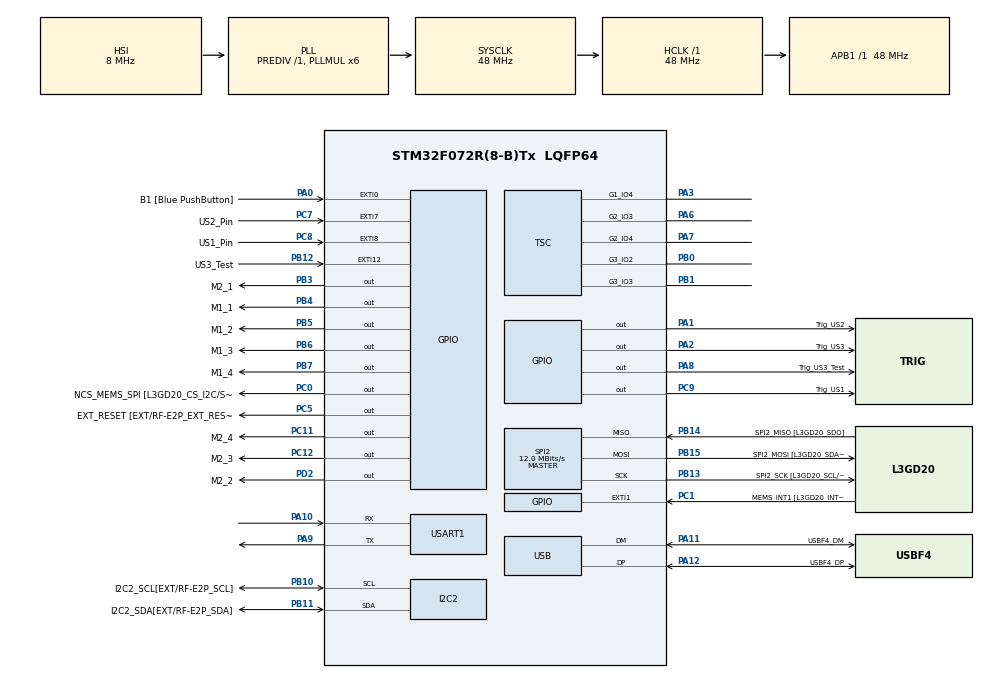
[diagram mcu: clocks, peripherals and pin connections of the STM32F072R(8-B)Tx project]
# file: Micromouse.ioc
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I2C2.Timing=0x20303E5D
Mcu.Family=STM32F0
Mcu.Name=STM32F072R(8-B)Tx
Mcu.Package=LQFP64
NVIC.EXTI4_15_IRQn=true\:0\:0\:false\:true\:true\:1\:true\:true
NVIC.TIM1_CC_IRQn=true\:0\:0\:false\:false\:true\:true\:true
NVIC.TIM3_IRQn=true\:0\:0\:false\:false\:true\:true\:true
NVIC.USART1_IRQn=true\:0\:0\:false\:true\:true\:2\:true\:true
PA0.GPIO_Label=B1 [Blue PushButton]
PA0.GPIO_ModeDefaultEXTI=GPIO_MODE_EVT_RISING
PA0.Signal=GPXTI0
PA1.GPIO_Label=Trig_US2
PA1.Signal=GPIO_Output
PA10.Mode=Asynchronous
PA10.Signal=USART1_RX
PA11.GPIO_Label=USBF4_DM
PA11.Mode=Device
PA11.Signal=USB_DM
PA12.GPIO_Label=USBF4_DP
PA12.Mode=Device
PA12.Signal=USB_DP
PA13.GPIO_Label=SWDIO
PA13.Mode=Serial_Wire
PA13.Signal=SYS_SWDIO
PA14.GPIO_Label=SWCLK
PA14.Mode=Serial_Wire
PA14.Signal=SYS_SWCLK
PA2.GPIO_Label=Trig_US3
PA2.Signal=GPIO_Output
PA3.Mode=G1_IO4-Sampling
PA3.Signal=TSC_G1_IO4
PA6.Mode=G2_IO3-Channel
PA6.Signal=TSC_G2_IO3
PA7.Mode=G2_IO4-Sampling
PA7.Signal=TSC_G2_IO4
PA8.GPIO_Label=Trig_US3_Test
PA8.Signal=GPIO_Output
PA9.Mode=Asynchronous
PA9.Signal=USART1_TX
PB0.Mode=G3_IO2-Channel
PB0.Signal=TSC_G3_IO2
PB1.Mode=G3_IO3-Sampling
PB1.Signal=TSC_G3_IO3
PB10.GPIO_Label=I2C2_SCL[EXT/RF-E2P_SCL]
PB10.Mode=I2C
PB10.Signal=I2C2_SCL
PB11.GPIO_Label=I2C2_SDA[EXT/RF-E2P_SDA]
PB11.Mode=I2C
PB11.Signal=I2C2_SDA
PB12.GPIO_Label=US3_Test
PB12.GPIO_ModeDefaultEXTI=GPIO_MODE_IT_RISING_FALLING
PB12.Signal=GPXTI12
PB13.GPIO_Label=SPI2_SCK [L3GD20_SCL/SPC]
PB13.Mode=Full_Duplex_Master
PB13.Signal=SPI2_SCK
PB14.GPIO_Label=SPI2_MISO [L3GD20_SDO]
PB14.Mode=Full_Duplex_Master
PB14.Signal=SPI2_MISO
PB15.GPIO_Label=SPI2_MOSI [L3GD20_SDA/SDI]
PB15.Mode=Full_Duplex_Master
PB15.Signal=SPI2_MOSI
PB3.GPIO_Label=M2_1
PB3.Signal=GPIO_Output
PB4.GPIO_Label=M1_1
PB4.Signal=GPIO_Output
PB5.GPIO_Label=M1_2
PB5.Signal=GPIO_Output
PB6.GPIO_Label=M1_3
PB6.Signal=GPIO_Output
PB7.GPIO_Label=M1_4
PB7.Signal=GPIO_Output
PC0.GPIO_Label=NCS_MEMS_SPI [L3GD20_CS_I2C/SPI]
PC0.Signal=GPIO_Output
PC1.GPIO_Label=MEMS_INT1 [L3GD20_INT1]
PC1.GPIO_ModeDefaultEXTI=GPIO_MODE_EVT_RISING
PC1.Signal=GPXTI1
PC11.GPIO_Label=M2_4
PC11.Signal=GPIO_Output
PC12.GPIO_Label=M2_3
PC12.Signal=GPIO_Output
PC5.GPIO_Label=EXT_RESET [EXT/RF-E2P_EXT_RESET]
PC5.Signal=GPIO_Output
PC7.GPIO_Label=US2_Pin
PC7.GPIO_ModeDefaultEXTI=GPIO_MODE_IT_RISING_FALLING
PC7.Signal=GPXTI7
PC8.GPIO_Label=US1_Pin
PC8.GPIO_ModeDefaultEXTI=GPIO_MODE_IT_RISING_FALLING
PC8.GPIO_PuPd=GPIO_NOPULL
PC8.Signal=GPXTI8
PC9.GPIO_Label=Trig_US1
PC9.Signal=GPIO_Output
PD2.GPIO_Label=M2_2
PD2.Signal=GPIO_Output
ProjectManager.HeapSize=0x200
ProjectManager.StackSize=0x400
ProjectManager.TargetToolchain=Other Toolchains (GPDSC)
RCC.AHBFreq_Value=48000000
RCC.APB1Freq_Value=48000000
RCC.APB1TimFreq_Value=48000000
RCC.HCLKFreq_Value=48000000
RCC.PLLMUL=RCC_PLL_MUL6
RCC.SYSCLKFreq_VALUE=48000000
RCC.SYSCLKSource=RCC_SYSCLKSOURCE_PLLCLK
SPI2.BaudRatePrescaler=SPI_BAUDRATEPRESCALER_4
SPI2.CalculateBaudRate=12.0 MBits/s
SPI2.Direction=SPI_DIRECTION_2LINES
SPI2.Mode=SPI_MODE_MASTER
SPI2.VirtualType=VM_MASTER
TIM3.Period=999
TIM3.Prescaler=47
USART1.Parity=PARITY_EVEN
USART1.VirtualMode-Asynchronous=VM_ASYNC
USART1.WordLength=WORDLENGTH_9B
USB.phy_itface=PCD_PHY_EMBEDDED
USB.speed=PCD_SPEED_FULL
VP_TIM1_VS_ClockSourceINT.Mode=Internal
VP_TIM3_VS_ClockSourceINT.Mode=Internal
board=STM32F072B-DISCO

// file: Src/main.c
/* USER CODE BEGIN Header */
/**
  ******************************************************************************
  * @file           : main.c
  * @brief          : Main program body
  ******************************************************************************
  * @attention
  *
  * <h2><center>&copy; Copyright (c) 2021 STMicroelectronics.
  * All rights reserved.</center></h2>
  *
  * This software component is licensed by ST under BSD 3-Clause license,
  * the "License"; You may not use this file except in compliance with the
  * License. You may obtain a copy of the License at:
  *                        opensource.org/licenses/BSD-3-Clause
  *
  ******************************************************************************
  */
/* USER CODE END Header */
#include "main.h"

/* USER CODE BEGIN Includes */
#include <stdio.h>
#include <math.h>
#include <string.h>
#include <stdlib.h>
/* USER CODE END Includes */

I2C_HandleTypeDef hi2c2;

SPI_HandleTypeDef hspi2;

TIM_HandleTypeDef htim1;
TIM_HandleTypeDef htim3;

TSC_HandleTypeDef htsc;

UART_HandleTypeDef huart1;

PCD_HandleTypeDef hpcd_USB_FS;

void SystemClock_Config(void);
static void MX_GPIO_Init(void);
static void MX_I2C2_Init(void);
static void MX_SPI2_Init(void);
static void MX_TSC_Init(void);
static void MX_USART1_UART_Init(void);
static void MX_USB_PCD_Init(void);
static void MX_TIM1_Init(void);
static void MX_TIM3_Init(void);
static void MX_NVIC_Init(void);

/* USER CODE BEGIN 0 */
//init UART module
uint8_t UART1_rxBuffer[12] = {0};
uint8_t Buffer[64] = {0};
uint8_t Text[12] = {0};
uint8_t length;

//init buffer for UART transmit of US-Sensor
uint8_t distance_str_front[200];
uint8_t len_front = 0;
uint8_t distance_str_left[200];
uint8_t len_left = 0;
uint8_t distance_str_right[200];
uint8_t len_right = 0;

//init buffer for follow wall initial distances
uint8_t wall_len_left = 35; // Set desired distance to left wall
uint8_t wall_len_right = 35; // Set desired distance to right wall

//PLEASE ADD DESCRIPTION
uint8_t distance_str_od[200];
uint8_t len_od = 0;

//save walls
uint32_t wall_array[15][15];
uint8_t wall_str[200];
uint8_t wall_array_show = 0;
uint8_t cell_value_1 = 0;
uint8_t cell_value_2 = 0;
uint8_t cell_value_3 = 0;
uint8_t cell_value_4 = 0;
uint8_t cell_value_5 = 0;
uint8_t cell_value_6 = 0;
uint8_t cell_value_7 = 0;
uint8_t cell_value_8 = 0;
uint8_t cell_value_9 = 0;

int x;
int y;

// Let's write the callback function
void delay (uint16_t time)
{
	__HAL_TIM_SET_COUNTER(&htim1,0);  // set the counter value a 0
	while (__HAL_TIM_GET_COUNTER(&htim1) < time);  // wait for the counter to reach the us input in the parameter
}

void trig_front ()
{
  __HAL_TIM_SET_COUNTER(&htim1,0);
  HAL_GPIO_WritePin(GPIOC, GPIO_PIN_9, GPIO_PIN_SET);
  delay(2);
  HAL_GPIO_WritePin(GPIOC, GPIO_PIN_9, GPIO_PIN_RESET);
}

void trig_left ()
{
  __HAL_TIM_SET_COUNTER(&htim1,0);
  HAL_GPIO_WritePin(GPIOA, GPIO_PIN_1, GPIO_PIN_SET);
  delay(2);
  HAL_GPIO_WritePin(GPIOA, GPIO_PIN_1, GPIO_PIN_RESET);
}

void trig_right ()
{
  __HAL_TIM_SET_COUNTER(&htim1,0);
  HAL_GPIO_WritePin(GPIOA, GPIO_PIN_8, GPIO_PIN_SET);
  delay(2);
  HAL_GPIO_WritePin(GPIOA, GPIO_PIN_8, GPIO_PIN_RESET);

}

uint16_t dist_calc (uint16_t echo_time)
{
  // distance in [mm]
  uint16_t distance = 0;
  distance = round((343. * echo_time/1.e3)/2.);
  return distance;
}

//start of UART Callback Checker
void HAL_UART_RxCpltCallback(UART_HandleTypeDef *huart)
{
  HAL_UART_Receive_IT(&huart1, UART1_rxBuffer, 1);
  x = strlen(Buffer);

  if (x == 0)
  {
    strcpy (Buffer, UART1_rxBuffer);
  }
  else
  {
    strcat (Buffer, UART1_rxBuffer);
  }

  //give out total driven distance
  if (strcmp (Buffer, "tm od\r\n") == 0)
  {
    tmod_trig = 1;
    return;
  }

  //give out current distance in all three directions
  else if (strcmp (Buffer, "tm ds\r\n") == 0)
  {
    tmds_trig = 1;
    return;
  }

  //command straight movement with fixed driving-distance
  else if (strncmp (Buffer, "mv ds", 5) == 0 && strncmp (&Buffer[10], "\r\n", 2) == 0)
  {
    strcpy(Text, &Buffer[6]);
    mvds_trig = 1;
    return;
  }

  //command change in motor-speed (for both motors)
  else if (strncmp (Buffer, "mv sp", 5) == 0 && strncmp (&Buffer[10], "\r\n", 2) == 0)
  {
    strcpy(Text, &Buffer[6]);
    set_sp_trig = 1;
    return;
  }

  else if (strcmp (Buffer, "tr wa\r\n") == 0)
  {
    set_wa_trig = 1;
    return;
  }

  else if (strncmp (Buffer, "mv lt", 5) == 0 && strncmp (&Buffer[10], "\r\n", 2) == 0)
  {
    strcpy(Text, &Buffer[6]);
    mvleft_trig = 1;
    return;
  }

  else if (strncmp (Buffer, "mv rt", 5) == 0 && strncmp (&Buffer[10], "\r\n", 2) == 0)
  {
    strcpy(Text, &Buffer[6]);
    mvright_trig = 1;
    return;
  }

  else if (strcmp (Buffer, "tr pk\r\n") == 0)
  {
    parking_trig = 1;
    return;
  }

  else if (strcmp (Buffer, "tr cn\r\n") == 0)
  {
    corner_trig = 1;
    return;
  }

  else if (strncmp(Buffer, "tr 4.1.1", 8) == 0 && strncmp (&Buffer[13], "\r\n", 2) == 0)  // trigger task 4.1.1 "drive straight for XXXX cells"
  {
    strcpy(Text, &Buffer[9]);
    lab_drv_trig = 1;
    return;
  }

  else if (strncmp(Buffer, "tr 4.1.2", 8) == 0 && strncmp (&Buffer[13], "\r\n", 2) == 0)  // trigger task 4.1.2 "turn 90° right and drive straight for XXXX cells"
  {
    strcpy(Text, &Buffer[9]);
    lab_turn_trig = 1;
    return;
  }

  else if (strncmp(Buffer, "tr 4.1.3", 8) == 0)  // trigger task 4.1.3 "turn around and drive back to right turn location"
  {
    lab_turnaround_trig = 1;
    return;
  }

   else if (strncmp(Buffer, "tr 4.1.4", 8) == 0)  // trigger task 4.1.4 "turn left and drive back to the start position of 4.1.1"
  {
    lab_turnleft_trig = 1;
    return;
  }

  else if (strcmp (Buffer, "mz explore\r\n") == 0) // trigger labyrinth explore to middle
  {
    maze_explore_trig = 1;
    return;
  }

  // command for solve starting from shortest path
  else if (strcmp (Buffer, "tr s1\r\n") == 0)
  {
    solve_1_trig = 1;
    return;
  }
   // command for solve starting from second shortest path
  else if (strcmp (Buffer, "tr s2\r\n") == 0)
  {
    solve_2_trig = 1;
    return;
  }
   // command for solve starting from second longest path
  else if (strcmp (Buffer, "tr s3\r\n") == 0)
  {
    solve_3_trig = 1;
    return;
  }
   // command for solve starting from longest path
  else if (strcmp (Buffer, "tr s4\r\n") == 0)
  {
    solve_4_trig = 1;
    return;
  }

/*
    else if (strcmp (Buffer, "tr 4.1\r\n") == 0)
  {
    lab_drv_trig = 1;
    return;
  }*/
}
//end of UART Callback Checker

//void fnct to drive straight for a given distance
void mv_straight (uint16_t ds, uint8_t reverse)
  {
    mv_direction = reverse; //set driving direction
    current_dis = 0; //reset currently driven distance
    dis_val = ds; //Solution for Bug: VS code tends to optimize ds which ends up deleting its content
    target_dis = dis_val/0.061; //set target distance
    HAL_TIM_Base_Start_IT(&htim3);
    length = sprintf(Buffer, "My predicted driving distance in mm is: %d\r\n", ds);
    HAL_UART_Transmit(&huart1, Buffer, length, 100);
    memset(Buffer, 0, strlen(Buffer)); //clear buffer
  }

void mv_labyrinth (uint16_t ds, uint8_t reverse)
  {
    mv_direction_lab = reverse; //set driving direction
    current_dis_lab = 0; //reset currently driven distance
    dis_val_lab = ds; //Solution for Bug: VS code tends to optimize ds which ends up deleting its content
    target_dis_lab = dis_val_lab/0.061; //set target distance
    HAL_TIM_Base_Start_IT(&htim3);
    memset(Buffer, 0, strlen(Buffer)); //clear buffer
  }

void turn (uint16_t rot_dis, uint8_t rot_dir)
{
      l = 0;//reset left iterator
      r = 0;//reset right iterator
      rotation = rot_dis * rot_norm;//set desired rotation into ticks
      mv_direction = rot_dir; //set turning mode
      cur_rotation = 0; //reset currently rotation
      in_rot = 1;
      HAL_TIM_Base_Start_IT(&htim3);
      while (in_rot == 1)
      {
          // wait for rotation to complete
      }
      HAL_Delay(300); //small delay
}

// follow wall/corner Function
void follow_wall (uint16_t ds)
{
      mv_straight(ds, 0);  // Set distance 2 meters , drive foreward

      //  Move along wall function which enbales the mv_straight until deviation is detected or od > dist_val
      while (current_dis < target_dis)
      {
        // check distance to left wall
        US_Select = 1;
        trig_left();

        cur_dis_left = dist_calc(echo_duration_left);
        len_left = sprintf(distance_str_left, "Distance left is: %02d \r\n", cur_dis_left);
        HAL_UART_Transmit(&huart1, distance_str_left, len_left, 100);
        HAL_Delay(50);
        // check distance to right wall
        US_Select = 2;
        trig_right();

        cur_dis_right = dist_calc(echo_duration_right);
        len_right = sprintf(distance_str_right, "Distance right is: %02d \r\n--------- \r\n", cur_dis_right);
        HAL_UART_Transmit(&huart1, distance_str_right, len_right, 100);
        HAL_Delay(50);
        if (check_for_corner == 1) // active corner-checking by enabling front-sensor trigger
        {
          US_Select = 0; //select front sensor
          trig_front();
          len_front_parking = sprintf(distance_str_parking, "Distance front is: %02d \r\n", dist_calc(echo_duration_front));
          HAL_UART_Transmit(&huart1, distance_str_parking, len_front_parking, 100);
          HAL_Delay(50);
          if (dist_calc(echo_duration_front) < 70)
          {
            front_wall_trig = 1;
            HAL_Delay(300); //small delay

            //turn right 90°
            turn(90, 3);//right = 3

          }
        }

        if ((cur_dis_left > 60 && cur_dis_left < 100) || cur_dis_right < 45)
        {
          // left turn if left wall too far
          uint8_t* message2 = "LEFT FOLLOW\r\n";
          HAL_UART_Transmit(&huart1, message2, strlen(message2),100);
          turn(2, 2);//left = 2

          mv_direction = 0; //resume straight drive
          HAL_TIM_Base_Start_IT(&htim3);
          HAL_Delay(50);
        }

        else if ((cur_dis_right > 60 && cur_dis_right < 100) || cur_dis_left < 45)
        {
          // right turn if left wall too close
          uint8_t* message2 = "RIGHT FOLLOW\r\n";
          HAL_UART_Transmit(&huart1, message2, strlen(message2),100);
          turn(2, 3);//right = 3

          mv_direction = 0; //resume straight drive
          HAL_TIM_Base_Start_IT(&htim3);
          HAL_Delay(50);
        }

/* REMOVED as sensors read wrong values close to a wall
        else if (cur_dis_left < wall_len_left - 10) //len_right > wall_len_right + 10 ||
        {
          // right turn if left wall too close
          turn(5, 3);//right = 3

          mv_direction = 0; //resume straight drive
          HAL_TIM_Base_Start_IT(&htim3);
          HAL_Delay(300);
        }*/
      }
}

void explore_labyrinth (uint16_t ds)
{
      mv_straight(ds, 0);  // Set distance 2 meters , drive foreward

      //  Move along wall function which enbales the mv_straight until deviation is detected or od > dist_val
      while (1)
      {
        US_Select = 0; //select front sensor
        trig_front();
        len_front_parking = sprintf(distance_str_parking, "Distance front is: %02d \r\n", dist_calc(echo_duration_front));
        HAL_UART_Transmit(&huart1, distance_str_parking, len_front_parking, 100);
        HAL_Delay(10);

        // check distance to left wall
        US_Select = 1;
        trig_left();

        cur_dis_left = dist_calc(echo_duration_left);
        len_left = sprintf(distance_str_left, "Distance left is: %02d \r\n", cur_dis_left);
        HAL_UART_Transmit(&huart1, distance_str_left, len_left, 100);
        HAL_Delay(10);

        // check distance to right wall
        US_Select = 2;
        trig_right();

        cur_dis_right = dist_calc(echo_duration_right);
        len_right = sprintf(distance_str_right, "Distance right is: %02d \r\n--------- \r\n", cur_dis_right);
        HAL_UART_Transmit(&huart1, distance_str_right, len_right, 100);
        HAL_Delay(10);

          //if (dist_calc(echo_duration_front) < 70)
          //{
            //front_wall_trig = 1;
            //HAL_Delay(300); //small delay

            //turn right 90°
            //turn(90, 3);//right = 3

          //}

        if ((cur_dis_left > 60 && cur_dis_left < 100) || cur_dis_right < 45)
        {
          // left turn if left wall too far
          uint8_t* message2 = "follow left\r\n";
          HAL_UART_Transmit(&huart1, message2, strlen(message2),100);
          turn(2, 2);//left = 2

          mv_direction = 0; //resume straight drive
          HAL_TIM_Base_Start_IT(&htim3);
          HAL_Delay(50);

        }

        else if ((cur_dis_right > 60 && cur_dis_right < 100) || cur_dis_left < 45)
        {
          // right turn if left wall too close
          uint8_t* message2 = "follow right\r\n";
          HAL_UART_Transmit(&huart1, message2, strlen(message2),100);
          turn(2, 3);//right = 3

          mv_direction = 0; //resume straight drive
          HAL_TIM_Base_Start_IT(&htim3);
          HAL_Delay(50);
        }

        else if (cur_dis_right > 170) //RIGHT TURN
        {

          uint8_t* message2 = "RIGHT TURN\r\n";
          HAL_UART_Transmit(&huart1, message2, strlen(message2),100);
          //follow_wall(90);
          if (dist_calc(echo_duration_front) < 200)
          {
            mv_straight(150, 0);
            while (current_dis < target_dis)
            {

            }

            mv_straight(20, 1);
            while (current_dis < target_dis)
            {

            }
          }
          else if (dist_calc(echo_duration_front) > 200)
          {
            mv_straight(180, 0);
            while (current_dis < target_dis)
            {

            }

            mv_straight(60, 1);
            while (current_dis < target_dis)
            {

            }
          }
          target_dis = 63000;
          turn(88, 3);//right = 3
          mv_direction = 0; //resume straight drive
          follow_wall(90);
          target_dis = 63000;
          HAL_TIM_Base_Start_IT(&htim3);
          HAL_Delay(50);
        }

        else if (cur_dis_left > 100 && cur_dis_right < 100 && dist_calc(echo_duration_front) < 100)
        {
          // LEFT TURN FOR REAL
          uint8_t* message2 = "LEFT TURN\r\n";
          HAL_UART_Transmit(&huart1, message2, strlen(message2),100);
          mv_straight(140, 0);
          while (current_dis < target_dis)
          {

          }

          mv_straight(20, 1);
          while (current_dis < target_dis)
          {

          }
          turn(88, 2);//left = 2
          mv_direction = 0; //resume straight drive
          HAL_TIM_Base_Start_IT(&htim3);
          target_dis = 63000;
          HAL_Delay(500);
        }

        else if (cur_dis_left < 100 && cur_dis_right < 100 && dist_calc(echo_duration_front) < 90)
        {
          // left turn if left wall too far
          uint8_t* message2 = "TURN AROUND\r\n";
          HAL_UART_Transmit(&huart1, message2, strlen(message2),100);
          turn(176, 3);//right = 3

          mv_direction = 0; //resume straight drive
          HAL_TIM_Base_Start_IT(&htim3);
          HAL_Delay(500);
        }

/* REMOVED as sensors read wrong values close to a wall
        else if (cur_dis_left < wall_len_left - 10) //len_right > wall_len_right + 10 ||
        {
          // right turn if left wall too close
          turn(5, 3);//right = 3

          mv_direction = 0; //resume straight drive
          HAL_TIM_Base_Start_IT(&htim3);
          HAL_Delay(300);
        }*/
      }
}

void mz_solve_1 (uint16_t solve_val)
{
  if (solve_val = 1)
  {
      cell_value_1 = 3;
      wall_array_show = sprintf(wall_str,"Here is the wall array %d\r\n", cell_value_1);
      HAL_UART_Transmit(&huart1, wall_str, wall_array_show, 100);
      follow_wall(190);
      cell_value_2 = 6;
      wall_array_show = sprintf(wall_str,"Here is the wall array %d\r\n", cell_value_2);
      HAL_UART_Transmit(&huart1, wall_str, wall_array_show, 100);
      turn(88, 3);
      follow_wall(190);
      cell_value_2 = 8;
      wall_array_show = sprintf(wall_str,"Here is the wall array %d\r\n", cell_value_3);
      HAL_UART_Transmit(&huart1, wall_str, wall_array_show, 100);
      follow_wall(190);
      cell_value_2 = 4;
      wall_array_show = sprintf(wall_str,"Here is the wall array %d\r\n", cell_value_4);
      HAL_UART_Transmit(&huart1, wall_str, wall_array_show, 100);
      turn(88, 2);
      follow_wall(190);
      cell_value_2 = 2;
      wall_array_show = sprintf(wall_str,"Here is the wall array %d\r\n", cell_value_5);
      HAL_UART_Transmit(&huart1, wall_str, wall_array_show, 100);
      turn(88, 3);
      follow_wall(190);
      cell_value_2 = 10;
      wall_array_show = sprintf(wall_str,"Here is the wall array %d\r\n", cell_value_6);
      HAL_UART_Transmit(&huart1, wall_str, wall_array_show, 100);
      follow_wall(190);
      cell_value_2 = 12;
      wall_array_show = sprintf(wall_str,"Here is the wall array %d\r\n", cell_value_7);
      HAL_UART_Transmit(&huart1, wall_str, wall_array_show, 100);
      turn(88, 2);
      follow_wall(190);
      cell_value_2 = 12;
      wall_array_show = sprintf(wall_str,"Here is the wall array %d\r\n", cell_value_8);
      HAL_UART_Transmit(&huart1, wall_str, wall_array_show, 100);
      follow_wall(190);
      cell_value_2 = 14;
      wall_array_show = sprintf(wall_str,"Here is the wall array %d\r\n", cell_value_9);
      HAL_UART_Transmit(&huart1, wall_str, wall_array_show, 100);
      turn(720,3);
      solve_1_trig = 0;
  }
}

void mz_solve_2 (uint16_t solve_val)
{

    if(solve_val = 2)
    {
      follow_wall(600);
      turn(88, 3);
      follow_wall(400);
      turn(88, 3);
      follow_wall(400);
      turn(88, 2);
      follow_wall(190);
      turn(88, 3);
      follow_wall(190);
      turn(88, 2);
      follow_wall(190);
      turn(88, 2);
      follow_wall(190);
      turn(88, 3);
      follow_wall(190);
      turn(88, 2);
      follow_wall(190);
      turn(88, 2);
      follow_wall(190);
      turn(88, 3);
      follow_wall(400);
      turn(88, 2);
      follow_wall(190);
      turn(88, 2);
      follow_wall(190);
      turn(720,3);
      solve_2_trig =0;
    }

}

void mz_solve_3 (uint16_t solve_val)
{

    if (solve_val = 3)
    {
      follow_wall(600);
      turn(88, 3);
      follow_wall(190);
      turn(88, 3);
      follow_wall(400);
      turn(88, 2);
      follow_wall(190);
      turn(88, 3);
      follow_wall(190);
      turn(88, 2);
      follow_wall(190);
      turn(88, 2);
      follow_wall(400);
      turn(88, 3);
      follow_wall(400);
      turn(88, 2);
      follow_wall(190);
      turn(88, 3);
      follow_wall(190);
      turn(88, 2);
      follow_wall(190);
      turn(88, 2);
      follow_wall(190);
      turn(88, 3);
      follow_wall(190);
      turn(88, 2);
      follow_wall(190);
      turn(88, 2);
      follow_wall(190);
      turn(88, 3);
      follow_wall(400);
      turn(88, 2);
      follow_wall(190);
      turn(88, 2);
      follow_wall(190);
      turn(720,3);
      solve_3_trig =0;
    }

}

void mz_solve_4 (uint16_t solve_val)
{
  if (solve_val = 4)
    {
      follow_wall(600);
      turn(88, 2);
      follow_wall(190);
      turn(88, 3);
      follow_wall(600);
      turn(88, 2);
      follow_wall(190);
      turn(88, 3);
      follow_wall(190);
      turn(88, 2);
      follow_wall(190);
      turn(88, 2);
      follow_wall(400);
      turn(88, 3);
      follow_wall(400);
      turn(88, 2);
      follow_wall(190);
      turn(88, 3);
      follow_wall(190);
      turn(88, 2);
      follow_wall(190);
      turn(88, 2);
      follow_wall(190);
      turn(88, 3);
      follow_wall(190);
      turn(88, 2);
      follow_wall(190);
      turn(88, 2);
      follow_wall(190);
      turn(88, 3);
      follow_wall(400);
      turn(88, 2);
      follow_wall(190);
      turn(88, 2);
      follow_wall(190);
      turn(720,3);
      solve_4_trig =0;
    }

}
/* USER CODE END 0 */

int main(void)
{

  /* MCU Configuration--------------------------------------------------------*/

  /* Reset of all peripherals, Initializes the Flash interface and the Systick. */
  HAL_Init();

  /* Configure the system clock */
  SystemClock_Config();

  /* Initialize all configured peripherals */
  MX_GPIO_Init();
  MX_I2C2_Init();
  MX_SPI2_Init();
  MX_TSC_Init();
  MX_USART1_UART_Init();
  MX_USB_PCD_Init();
  MX_TIM1_Init();
  MX_TIM3_Init();
  /* Initialize interrupts */
  MX_NVIC_Init();
  /* USER CODE BEGIN 2 */

//define properties of trigger timer (TIM_1)
  __HAL_TIM_SET_PRESCALER(&htim1, SystemCoreClock/1e6-1);
  HAL_TIM_IC_Start_IT(&htim1, TIM_CHANNEL_1);

//initialize sensors
  echo_duration_front = 0;
  echo_trig_front = 0;

  echo_duration_left = 0;
  echo_trig_left = 0;

  echo_duration_right = 0;
  echo_trig_right = 0;

  t_0_front = 0;
  t_1_front = 0;

  t_0_left = 0;
  t_1_left = 0;

  t_0_right = 0;
  t_1_right = 0;

  US_Select = 3;

//solve trigger 0
  solve_1_trig = 0;
  solve_2_trig = 0;
  solve_3_trig = 0;
  solve_4_trig = 0;

//init drive straight trigger
  mvds_trig = 0;
  dis_val = 0;

//init send tm ds distance trigger
  tmds_trig = 0;

//init send tm od distance trigger
  tmod_trig = 0;

//set default speed
  sp = 55;
  p = 62500/sp; //update speed variable
__HAL_TIM_SET_PRESCALER(&htim3, SystemCoreClock / 1000000-1); //update tim3 prescaler
__HAL_TIM_SET_AUTORELOAD(&htim3, p - 1);

//set default move direction for both wheels (1-reverse, 0-foreward)
  i = 0;

//set default turning radius
  rotation = 0; //default turn: corresponds to 90° turn
  rot_norm = 16.2;
  mvleft_trig = 0;
  mvright_trig = 0;

//init parking variables
  parking_trig = 0;
  front_wall_trig = 0;

//init labyrinth variables
  lab_drv_trig = 0;
  maze_explore_trig = 0;
//ADD COMMENT
  od_buf = 0;
  od = 0;

  HAL_Init();
  SystemClock_Config();
  MX_GPIO_Init();
  MX_USART1_UART_Init();

  HAL_UART_Receive_IT (&huart1, UART1_rxBuffer, 1);
  /* USER CODE END 2 */

  /* Infinite loop */
  /* USER CODE BEGIN WHILE */

//Currently the main code triggers every US-Sensor every 400ms -> distance data can be obtained continiously

  while (1)
  {
    /* USER CODE END WHILE */

    /* USER CODE BEGIN 3 */
    if(mvds_trig == 1) //drive straight
    {
      dis_val = atoi(Text); //read out buffer info
      mv_straight(dis_val, 0); //call move function
      mvds_trig = 0; //reset move command trigger
    }

    else if (mvleft_trig == 1) //drive a left turn
    {
      rotation = atoi(Text); //read out buffer info
      turn(rotation, 2);//left = 2
      mvleft_trig = 0; //reset trigger
    }

    else if (mvright_trig == 1) //drive a right turn
    {
      rotation = atoi(Text); //read out buffer info
      turn(rotation, 3);//right = 3
      mvright_trig = 0; //reset trigger
    }

    else if (parking_trig == 1) //parking mode routine
    {
      mv_straight(2000, 0);      //drive straight

      while (front_wall_trig == 0)
        {
          US_Select = 0; //select front sensor
          trig_front();
          len_front_parking = sprintf(distance_str_parking, "Distance front is: %02d \r\n", dist_calc(echo_duration_front));
          HAL_UART_Transmit(&huart1, distance_str_parking, len_front_parking, 100);
          HAL_Delay(200);
          if (dist_calc(echo_duration_front) < 60)
          {
            front_wall_trig = 1;
          }
        }

      front_wall_trig = 0;

      //turn left 180°
      turn(180, 2);//left = 2

      //reverse for x cm
      mv_straight(50, 1); //drive reverse
      parking_trig = 0; //reset trigger
    }

    else if (tmds_trig == 1) //read out all sensor data
    {
      //trigger all sensors
      US_Select = 0;

      //  US 1
      uint8_t distance_str_front[200];
      uint8_t len_front = 0;

      trig_front();
      HAL_Delay(200);

      US_Select = 1;

      //  US 2
      uint8_t distance_str_left[200];
      uint8_t len_left = 0;

      trig_left();
      HAL_Delay(200);

      US_Select = 2;

      //  US 3
      uint8_t distance_str_right[200];
      uint8_t len_right = 0;

      trig_right();
      HAL_Delay(200);

      // sent data via UART

      len_front = sprintf(distance_str_front, "Distance front is: %02d \r\n", dist_calc(echo_duration_front));
      HAL_UART_Transmit(&huart1, distance_str_front, len_front, 100);

      len_left = sprintf(distance_str_left, "Distance left is: %02d \r\n", dist_calc(echo_duration_left));
      HAL_UART_Transmit(&huart1, distance_str_left, len_left, 100);

      len_right = sprintf(distance_str_right, "Distance right is: %02d \r\n", dist_calc(echo_duration_right));
      HAL_UART_Transmit(&huart1, distance_str_right, len_right, 100);

      //  Draw vertical line
      uint8_t* message2 = "-------------------\r\n";
      HAL_UART_Transmit(&huart1, message2, strlen(message2),100);

      tmds_trig = 0; //reset tmds command trigger
    }

    else if (tmod_trig == 1) // sent currently driven distance
    {
      len_od = sprintf(distance_str_od, "traveled distance approx.: %02d \r\n", od+od_buf);
      HAL_UART_Transmit(&huart1, distance_str_od, len_od, 100);
      tmod_trig = 0; //reset tmod command trigger
    }

    else if (set_sp_trig == 1) //change motor speed
    {
      sp = atoi(Text); //copy commandes speed
      p = 62500/sp; //update speed variable
      __HAL_TIM_SET_PRESCALER(&htim3, SystemCoreClock / 1000000-1); //update tim3 prescaler
      __HAL_TIM_SET_AUTORELOAD(&htim3, p - 1);
      length = sprintf(Buffer, "My predicted speed in mm/s is: %d\r\n", sp);
      HAL_UART_Transmit(&huart1, Buffer, length, 100);
      set_sp_trig = 0; //reset speed command trigger
    }

    else if (set_wa_trig == 1) // follow wall function /w corner function disabled
    {
      check_for_corner = 0;
      follow_wall(2000);
      set_wa_trig = 0; // reset follow wa command trigger
    }

    else if (corner_trig == 1) // follow wall function /w corner function enabled
    {
      check_for_corner = 1;
      follow_wall(2000);
      corner_trig = 0;
    }

    else if (lab_drv_trig == 1) // drive certain amount of cells
    {
      cells = atoi(Text);
      follow_wall(cells * 200);
      lab_drv_trig = 0;
      current_cell = current_cell + cells;
    }

    else if (maze_explore_trig == 1) //drive to the middle of the labyrinth
    {
      explore_labyrinth(63000);
      maze_explore_trig = 0;
    }

    else if (solve_1_trig == 1) //drive to the middle of the labyrinth
    {
      mz_solve_1(1);
      solve_1_trig = 0;
    }

    else if (solve_2_trig == 1) //drive to the middle of the labyrinth
    {
      mz_solve_2(2);
      solve_2_trig = 0;
    }

    else if (solve_3_trig == 1) //drive to the middle of the labyrinth
    {
      mz_solve_3(3);
      solve_3_trig = 0;
    }

    else if (solve_4_trig == 1) //drive to the middle of the labyrinth
    {
      mz_solve_4(4);
      solve_4_trig = 0;
    }

    else if (lab_turn_trig) // turn right and drive certain amount of cells
    {
      cells = atoi(Text);
      turn(88, 3);
      follow_wall(cells * 200);
      lab_turn_trig = 0;
      current_cell = current_cell + cells;
    }

    else if (lab_turnaround_trig) // turn around and return to the right turn position
    {
      turn(176, 3);
      follow_wall(cells * 200);
      lab_turnaround_trig = 0;
      current_cell = current_cell - cells;
    }

    else if (lab_turnleft_trig) // turn left at the right turn position and return to the start of 4.1.1
    {
      turn(88, 2);
      follow_wall(current_cell * 200);
      turn(720, 2);// current cell is used here, since it is the distance left to the start point
      lab_turnleft_trig = 0;
      current_cell = 0; // start point reached
    }

    HAL_Delay(600);
    memset(Buffer, 0, strlen(Buffer)); //reset buffer
  }
  /* USER CODE END 3 */
}

void SystemClock_Config(void)
{
  RCC_OscInitTypeDef RCC_OscInitStruct = {0};
  RCC_ClkInitTypeDef RCC_ClkInitStruct = {0};
  RCC_PeriphCLKInitTypeDef PeriphClkInit = {0};

  /** Initializes the RCC Oscillators according to the specified parameters
  * in the RCC_OscInitTypeDef structure.
  */
  RCC_OscInitStruct.OscillatorType = RCC_OSCILLATORTYPE_HSI|RCC_OSCILLATORTYPE_HSI48;
  RCC_OscInitStruct.HSIState = RCC_HSI_ON;
  RCC_OscInitStruct.HSI48State = RCC_HSI48_ON;
  RCC_OscInitStruct.HSICalibrationValue = RCC_HSICALIBRATION_DEFAULT;
  RCC_OscInitStruct.PLL.PLLState = RCC_PLL_ON;
  RCC_OscInitStruct.PLL.PLLSource = RCC_PLLSOURCE_HSI;
  RCC_OscInitStruct.PLL.PLLMUL = RCC_PLL_MUL6;
  RCC_OscInitStruct.PLL.PREDIV = RCC_PREDIV_DIV1;
  if (HAL_RCC_OscConfig(&RCC_OscInitStruct) != HAL_OK)
  {
    Error_Handler();
  }
  /** Initializes the CPU, AHB and APB buses clocks
  */
  RCC_ClkInitStruct.ClockType = RCC_CLOCKTYPE_HCLK|RCC_CLOCKTYPE_SYSCLK
                              |RCC_CLOCKTYPE_PCLK1;
  RCC_ClkInitStruct.SYSCLKSource = RCC_SYSCLKSOURCE_PLLCLK;
  RCC_ClkInitStruct.AHBCLKDivider = RCC_SYSCLK_DIV1;
  RCC_ClkInitStruct.APB1CLKDivider = RCC_HCLK_DIV1;

  if (HAL_RCC_ClockConfig(&RCC_ClkInitStruct, FLASH_LATENCY_1) != HAL_OK)
  {
    Error_Handler();
  }
  PeriphClkInit.PeriphClockSelection = RCC_PERIPHCLK_USB|RCC_PERIPHCLK_USART1;
  PeriphClkInit.Usart1ClockSelection = RCC_USART1CLKSOURCE_PCLK1;
  PeriphClkInit.UsbClockSelection = RCC_USBCLKSOURCE_HSI48;

  if (HAL_RCCEx_PeriphCLKConfig(&PeriphClkInit) != HAL_OK)
  {
    Error_Handler();
  }
}

/**
  * @brief NVIC Configuration.
  * @retval None
  */
static void MX_NVIC_Init(void)
{
  /* EXTI4_15_IRQn interrupt configuration */
  HAL_NVIC_SetPriority(EXTI4_15_IRQn, 0, 0);
  HAL_NVIC_EnableIRQ(EXTI4_15_IRQn);
  /* USART1_IRQn interrupt configuration */
  HAL_NVIC_SetPriority(USART1_IRQn, 0, 0);
  HAL_NVIC_EnableIRQ(USART1_IRQn);
}

static void MX_I2C2_Init(void)
{

  hi2c2.Instance = I2C2;
  hi2c2.Init.Timing = 0x20303E5D;
  hi2c2.Init.OwnAddress1 = 0;
  hi2c2.Init.AddressingMode = I2C_ADDRESSINGMODE_7BIT;
  hi2c2.Init.DualAddressMode = I2C_DUALADDRESS_DISABLE;
  hi2c2.Init.OwnAddress2 = 0;
  hi2c2.Init.OwnAddress2Masks = I2C_OA2_NOMASK;
  hi2c2.Init.GeneralCallMode = I2C_GENERALCALL_DISABLE;
  hi2c2.Init.NoStretchMode = I2C_NOSTRETCH_DISABLE;
  if (HAL_I2C_Init(&hi2c2) != HAL_OK)
  {
    Error_Handler();
  }
  /** Configure Analogue filter
  */
  if (HAL_I2CEx_ConfigAnalogFilter(&hi2c2, I2C_ANALOGFILTER_ENABLE) != HAL_OK)
  {
    Error_Handler();
  }
  /** Configure Digital filter
  */
  if (HAL_I2CEx_ConfigDigitalFilter(&hi2c2, 0) != HAL_OK)
  {
    Error_Handler();
  }

}

static void MX_SPI2_Init(void)
{

  /* SPI2 parameter configuration*/
  hspi2.Instance = SPI2;
  hspi2.Init.Mode = SPI_MODE_MASTER;
  hspi2.Init.Direction = SPI_DIRECTION_2LINES;
  hspi2.Init.DataSize = SPI_DATASIZE_4BIT;
  hspi2.Init.CLKPolarity = SPI_POLARITY_LOW;
  hspi2.Init.CLKPhase = SPI_PHASE_1EDGE;
  hspi2.Init.NSS = SPI_NSS_SOFT;
  hspi2.Init.BaudRatePrescaler = SPI_BAUDRATEPRESCALER_4;
  hspi2.Init.FirstBit = SPI_FIRSTBIT_MSB;
  hspi2.Init.TIMode = SPI_TIMODE_DISABLE;
  hspi2.Init.CRCCalculation = SPI_CRCCALCULATION_DISABLE;
  hspi2.Init.CRCPolynomial = 7;
  hspi2.Init.CRCLength = SPI_CRC_LENGTH_DATASIZE;
  hspi2.Init.NSSPMode = SPI_NSS_PULSE_ENABLE;
  if (HAL_SPI_Init(&hspi2) != HAL_OK)
  {
    Error_Handler();
  }

}

static void MX_TIM1_Init(void)
{

  TIM_ClockConfigTypeDef sClockSourceConfig = {0};
  TIM_MasterConfigTypeDef sMasterConfig = {0};

  htim1.Instance = TIM1;
  htim1.Init.Prescaler = 0;
  htim1.Init.CounterMode = TIM_COUNTERMODE_UP;
  htim1.Init.Period = 65535;
  htim1.Init.ClockDivision = TIM_CLOCKDIVISION_DIV1;
  htim1.Init.RepetitionCounter = 0;
  htim1.Init.AutoReloadPreload = TIM_AUTORELOAD_PRELOAD_DISABLE;
  if (HAL_TIM_Base_Init(&htim1) != HAL_OK)
  {
    Error_Handler();
  }
  sClockSourceConfig.ClockSource = TIM_CLOCKSOURCE_INTERNAL;
  if (HAL_TIM_ConfigClockSource(&htim1, &sClockSourceConfig) != HAL_OK)
  {
    Error_Handler();
  }
  sMasterConfig.MasterOutputTrigger = TIM_TRGO_RESET;
  sMasterConfig.MasterSlaveMode = TIM_MASTERSLAVEMODE_DISABLE;
  if (HAL_TIMEx_MasterConfigSynchronization(&htim1, &sMasterConfig) != HAL_OK)
  {
    Error_Handler();
  }

}

static void MX_TIM3_Init(void)
{

  TIM_ClockConfigTypeDef sClockSourceConfig = {0};
  TIM_MasterConfigTypeDef sMasterConfig = {0};

  htim3.Instance = TIM3;
  htim3.Init.Prescaler = 47;
  htim3.Init.CounterMode = TIM_COUNTERMODE_UP;
  htim3.Init.Period = 999;
  htim3.Init.ClockDivision = TIM_CLOCKDIVISION_DIV1;
  htim3.Init.AutoReloadPreload = TIM_AUTORELOAD_PRELOAD_DISABLE;
  if (HAL_TIM_Base_Init(&htim3) != HAL_OK)
  {
    Error_Handler();
  }
  sClockSourceConfig.ClockSource = TIM_CLOCKSOURCE_INTERNAL;
  if (HAL_TIM_ConfigClockSource(&htim3, &sClockSourceConfig) != HAL_OK)
  {
    Error_Handler();
  }
  sMasterConfig.MasterOutputTrigger = TIM_TRGO_RESET;
  sMasterConfig.MasterSlaveMode = TIM_MASTERSLAVEMODE_DISABLE;
  if (HAL_TIMEx_MasterConfigSynchronization(&htim3, &sMasterConfig) != HAL_OK)
  {
    Error_Handler();
  }

}

static void MX_TSC_Init(void)
{

  /** Configure the TSC peripheral
  */
  htsc.Instance = TSC;
  htsc.Init.CTPulseHighLength = TSC_CTPH_2CYCLES;
  htsc.Init.CTPulseLowLength = TSC_CTPL_2CYCLES;
  htsc.Init.SpreadSpectrum = DISABLE;
  htsc.Init.SpreadSpectrumDeviation = 1;
  htsc.Init.SpreadSpectrumPrescaler = TSC_SS_PRESC_DIV1;
  htsc.Init.PulseGeneratorPrescaler = TSC_PG_PRESC_DIV4;
  htsc.Init.MaxCountValue = TSC_MCV_8191;
  htsc.Init.IODefaultMode = TSC_IODEF_OUT_PP_LOW;
  htsc.Init.SynchroPinPolarity = TSC_SYNC_POLARITY_FALLING;
  htsc.Init.AcquisitionMode = TSC_ACQ_MODE_NORMAL;
  htsc.Init.MaxCountInterrupt = DISABLE;
  htsc.Init.ChannelIOs = TSC_GROUP2_IO3|TSC_GROUP3_IO2;
  htsc.Init.ShieldIOs = 0;
  htsc.Init.SamplingIOs = TSC_GROUP1_IO4|TSC_GROUP2_IO4|TSC_GROUP3_IO3;
  if (HAL_TSC_Init(&htsc) != HAL_OK)
  {
    Error_Handler();
  }

}

static void MX_USART1_UART_Init(void)
{

  huart1.Instance = USART1;
  huart1.Init.BaudRate = 38400;
  huart1.Init.WordLength = UART_WORDLENGTH_9B;
  huart1.Init.StopBits = UART_STOPBITS_1;
  huart1.Init.Parity = UART_PARITY_EVEN;
  huart1.Init.Mode = UART_MODE_TX_RX;
  huart1.Init.HwFlowCtl = UART_HWCONTROL_NONE;
  huart1.Init.OverSampling = UART_OVERSAMPLING_16;
  huart1.Init.OneBitSampling = UART_ONE_BIT_SAMPLE_DISABLE;
  huart1.AdvancedInit.AdvFeatureInit = UART_ADVFEATURE_NO_INIT;
  if (HAL_UART_Init(&huart1) != HAL_OK)
  {
    Error_Handler();
  }

}

static void MX_USB_PCD_Init(void)
{

  hpcd_USB_FS.Instance = USB;
  hpcd_USB_FS.Init.dev_endpoints = 8;
  hpcd_USB_FS.Init.speed = PCD_SPEED_FULL;
  hpcd_USB_FS.Init.phy_itface = PCD_PHY_EMBEDDED;
  hpcd_USB_FS.Init.low_power_enable = DISABLE;
  hpcd_USB_FS.Init.lpm_enable = DISABLE;
  hpcd_USB_FS.Init.battery_charging_enable = DISABLE;
  if (HAL_PCD_Init(&hpcd_USB_FS) != HAL_OK)
  {
    Error_Handler();
  }

}

static void MX_GPIO_Init(void)
{
  GPIO_InitTypeDef GPIO_InitStruct = {0};

  /* GPIO Ports Clock Enable */
  __HAL_RCC_GPIOC_CLK_ENABLE();
  __HAL_RCC_GPIOA_CLK_ENABLE();
  __HAL_RCC_GPIOB_CLK_ENABLE();
  __HAL_RCC_GPIOD_CLK_ENABLE();

  /*Configure GPIO pin Output Level */
  HAL_GPIO_WritePin(GPIOC, NCS_MEMS_SPI_Pin|EXT_RESET_Pin|Trig_US1_Pin|M2_4_Pin
                          |M2_3_Pin, GPIO_PIN_RESET);

  /*Configure GPIO pin Output Level */
  HAL_GPIO_WritePin(GPIOA, Trig_US2_Pin|Trig_US3_Pin|Trig_US3_Test_Pin, GPIO_PIN_RESET);

  /*Configure GPIO pin Output Level */
  HAL_GPIO_WritePin(M2_2_GPIO_Port, M2_2_Pin, GPIO_PIN_RESET);

  /*Configure GPIO pin Output Level */
  HAL_GPIO_WritePin(GPIOB, M2_1_Pin|M1_1_Pin|M1_2_Pin|M1_3_Pin
                          |M1_4_Pin, GPIO_PIN_RESET);

  /*Configure GPIO pins : NCS_MEMS_SPI_Pin EXT_RESET_Pin Trig_US1_Pin M2_4_Pin
                           M2_3_Pin */
  GPIO_InitStruct.Pin = NCS_MEMS_SPI_Pin|EXT_RESET_Pin|Trig_US1_Pin|M2_4_Pin
                          |M2_3_Pin;
  GPIO_InitStruct.Mode = GPIO_MODE_OUTPUT_PP;
  GPIO_InitStruct.Pull = GPIO_NOPULL;
  GPIO_InitStruct.Speed = GPIO_SPEED_FREQ_LOW;
  HAL_GPIO_Init(GPIOC, &GPIO_InitStruct);

  /*Configure GPIO pin : MEMS_INT1_Pin */
  GPIO_InitStruct.Pin = MEMS_INT1_Pin;
  GPIO_InitStruct.Mode = GPIO_MODE_EVT_RISING;
  GPIO_InitStruct.Pull = GPIO_NOPULL;
  HAL_GPIO_Init(MEMS_INT1_GPIO_Port, &GPIO_InitStruct);

  /*Configure GPIO pin : B1_Pin */
  GPIO_InitStruct.Pin = B1_Pin;
  GPIO_InitStruct.Mode = GPIO_MODE_EVT_RISING;
  GPIO_InitStruct.Pull = GPIO_NOPULL;
  HAL_GPIO_Init(B1_GPIO_Port, &GPIO_InitStruct);

  /*Configure GPIO pins : Trig_US2_Pin Trig_US3_Pin Trig_US3_Test_Pin */
  GPIO_InitStruct.Pin = Trig_US2_Pin|Trig_US3_Pin|Trig_US3_Test_Pin;
  GPIO_InitStruct.Mode = GPIO_MODE_OUTPUT_PP;
  GPIO_InitStruct.Pull = GPIO_NOPULL;
  GPIO_InitStruct.Speed = GPIO_SPEED_FREQ_LOW;
  HAL_GPIO_Init(GPIOA, &GPIO_InitStruct);

  /*Configure GPIO pin : US3_Test_Pin */
  GPIO_InitStruct.Pin = US3_Test_Pin;
  GPIO_InitStruct.Mode = GPIO_MODE_IT_RISING_FALLING;
  GPIO_InitStruct.Pull = GPIO_NOPULL;
  HAL_GPIO_Init(US3_Test_GPIO_Port, &GPIO_InitStruct);

  /*Configure GPIO pins : US2_Pin_Pin US1_Pin_Pin */
  GPIO_InitStruct.Pin = US2_Pin_Pin|US1_Pin_Pin;
  GPIO_InitStruct.Mode = GPIO_MODE_IT_RISING_FALLING;
  GPIO_InitStruct.Pull = GPIO_NOPULL;
  HAL_GPIO_Init(GPIOC, &GPIO_InitStruct);

  /*Configure GPIO pin : M2_2_Pin */
  GPIO_InitStruct.Pin = M2_2_Pin;
  GPIO_InitStruct.Mode = GPIO_MODE_OUTPUT_PP;
  GPIO_InitStruct.Pull = GPIO_NOPULL;
  GPIO_InitStruct.Speed = GPIO_SPEED_FREQ_LOW;
  HAL_GPIO_Init(M2_2_GPIO_Port, &GPIO_InitStruct);

  /*Configure GPIO pins : M2_1_Pin M1_1_Pin M1_2_Pin M1_3_Pin
                           M1_4_Pin */
  GPIO_InitStruct.Pin = M2_1_Pin|M1_1_Pin|M1_2_Pin|M1_3_Pin
                          |M1_4_Pin;
  GPIO_InitStruct.Mode = GPIO_MODE_OUTPUT_PP;
  GPIO_InitStruct.Pull = GPIO_NOPULL;
  GPIO_InitStruct.Speed = GPIO_SPEED_FREQ_LOW;
  HAL_GPIO_Init(GPIOB, &GPIO_InitStruct);

}

void Error_Handler(void)
{
  __disable_irq();
  while (1)
  {
  }
}

/************************ (C) COPYRIGHT STMicroelectronics *****END OF FILE****/
